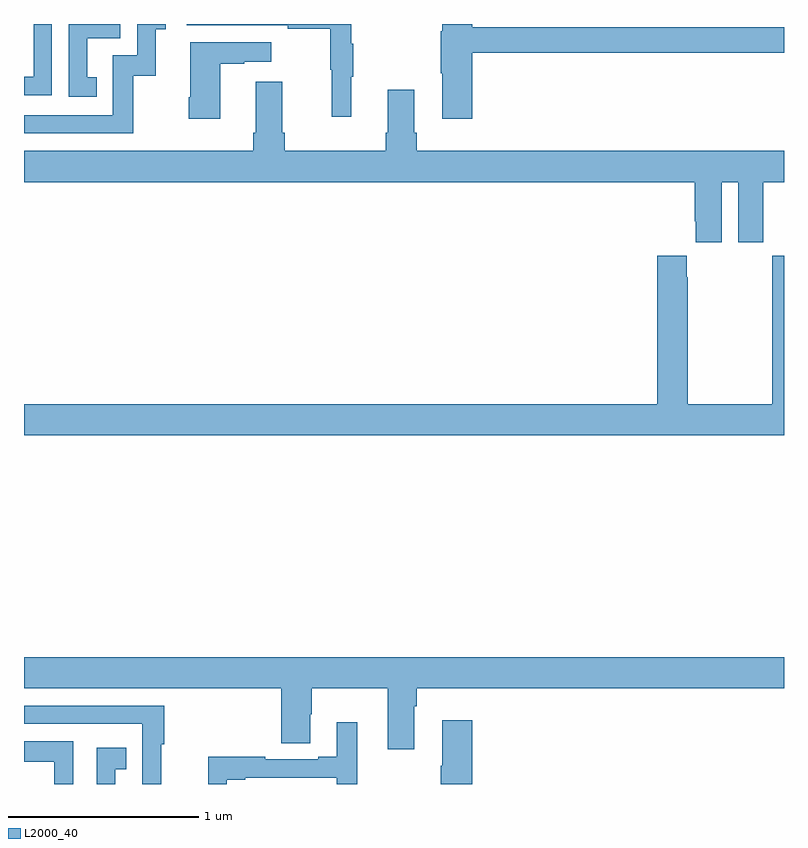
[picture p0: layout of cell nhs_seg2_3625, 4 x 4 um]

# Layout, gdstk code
import gdstk
lib = gdstk.Library(unit=1e-6, precision=1e-09)
def P(c, l, *ps):  # polygons
    for p in ps: c.add(gdstk.Polygon(p, *l))
L2000_40 = (2000, 40)

nhs_seg2_3625 = lib.new_cell('nhs_seg2_3625')
P(nhs_seg2_3625, L2000_40, [(302.723,649.523),(302.734,649.523),(302.734,649.697),(302.723,649.697),(302.723,649.8),(301.857,649.8),(301.857,649.794),(302.389,649.794),(302.389,649.774),(302.613,649.774),(302.613,649.56),(302.62,649.56),(302.62,649.311),(302.723,649.311)],
  [(301.576,649.527),(301.694,649.527),(301.694,649.773),(301.747,649.773),(301.747,649.8),(301.596,649.8),(301.596,649.635),(301.467,649.635),(301.467,649.32),(301,649.32),(301,649.224),(301.576,649.224)],
  [(303.359,649.648),(305,649.648),(305,649.784),(303.359,649.784),(303.359,649.8),(303.2,649.8),(303.2,649.761),(303.193,649.761),(303.193,649.54),(303.2,649.54),(303.2,649.302),(303.359,649.302)],
  [(301.382,649.521),(301.333,649.521),(301.333,649.725),(301.506,649.725),(301.506,649.8),(301.236,649.8),(301.236,649.416),(301.382,649.416)],
  [(301.146,649.8),(301.05,649.8),(301.05,649.522),(301,649.522),(301,649.425),(301.146,649.425)],
  [(302.032,649.591),(302.159,649.591),(302.159,649.601),(302.302,649.601),(302.302,649.705),(301.874,649.705),(301.874,649.414),(301.867,649.414),(301.867,649.302),(302.032,649.302)],
  [(304.672,648.968),(304.76,648.968),(304.76,648.651),(304.891,648.651),(304.891,648.968),(305,648.968),(305,649.132),(303.068,649.132),(303.068,649.228),(303.055,649.228),(303.055,649.453),(302.915,649.453),(302.915,649.228),(302.903,649.228),(302.903,649.132),(302.372,649.132),(302.372,649.228),(302.359,649.228),(302.359,649.495),(302.219,649.495),(302.219,649.228),(302.207,649.228),(302.207,649.132),(301,649.132),(301,648.968),(304.529,648.968),(304.529,648.763),(304.535,648.763),(304.535,648.651),(304.672,648.651)],
  [(305,648.58),(304.939,648.58),(304.939,647.8),(304.494,647.8),(304.494,648.467),(304.489,648.467),(304.489,648.58),(304.334,648.58),(304.334,647.8),(301,647.8),(301,647.636),(305,647.636)],
  [(303.055,646.208),(303.068,646.208),(303.068,646.304),(305,646.304),(305,646.468),(301,646.468),(301,646.304),(302.354,646.304),(302.354,646.015),(302.506,646.015),(302.506,646.166),(302.514,646.166),(302.514,646.304),(302.915,646.304),(302.915,645.984),(303.055,645.984)],
  [(301.722,646.009),(301.739,646.009),(301.739,646.212),(301,646.212),(301,646.116),(301.623,646.116),(301.623,645.8),(301.722,645.8)],
  [(303.359,646.135),(303.2,646.135),(303.2,645.896),(303.193,645.896),(303.193,645.8),(303.359,645.8)],
  [(302.068,645.822),(302.164,645.822),(302.164,645.834),(302.645,645.834),(302.645,645.8),(302.755,645.8),(302.755,646.126),(302.645,646.126),(302.645,645.943),(302.549,645.943),(302.549,645.93),(302.27,645.93),(302.27,645.943),(301.969,645.943),(301.969,645.8),(302.068,645.8)],
  [(301.26,646.026),(301,646.026),(301,645.918),(301.159,645.918),(301.159,645.8),(301.26,645.8)],
  [(301.48,645.878),(301.538,645.878),(301.538,645.991),(301.383,645.991),(301.383,645.8),(301.48,645.8)])

lib.write_gds('nhs_seg2_3625.gds')
